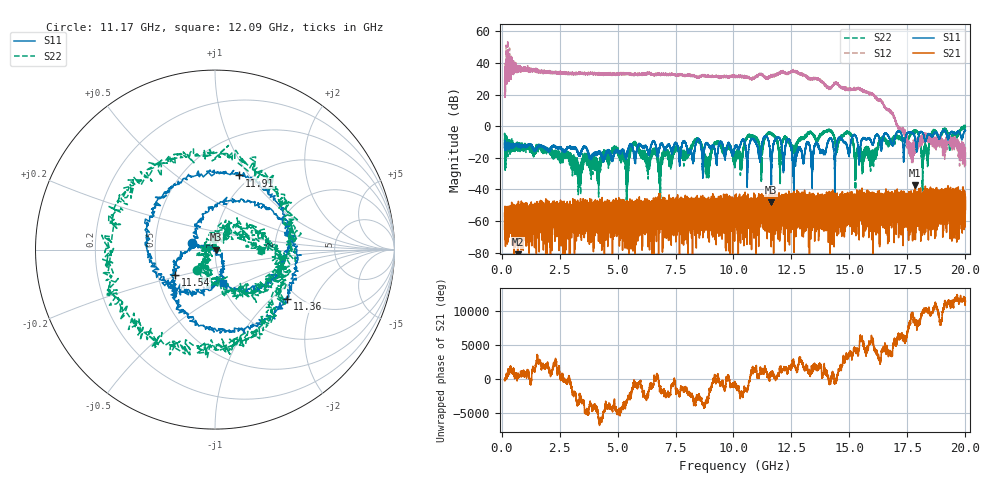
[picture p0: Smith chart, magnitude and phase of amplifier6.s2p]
!Created with skrf (http://scikit-rf.org).
# GHz S RI R 50.0
!freq ReS11 ImS11 ReS21 ImS21 ReS12 ImS12 ReS22 ImS22
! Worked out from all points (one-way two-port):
!   20013 points, 130 MHz to 20 GHz, reference 50 ohm
!   highest |S21| = -37.30 dB at 17.84 GHz (marker M1); lowest = -93.4 dB at 693 MHz (marker M2)
!   lowest |S11| = -48.1 dB at 11.63 GHz (marker M3), VSWR 1.01, Z = 50.4 - j0.088 ohm
!   |S11| at or under -10 dB: 143.4 MHz to 6.505 GHz (6.361 GHz wide, 191 % of centre); 6.601 GHz to 7.809 GHz (1.208 GHz wide, 16.8 % of centre); 13.21 GHz to 14.07 GHz (864.6 MHz wide, 6.34 % of centre) (the widest 3 of 140)
!   |S22| runs from -53.5 to 0.6 dB; largest |S21 - S12| = 5.1e+02
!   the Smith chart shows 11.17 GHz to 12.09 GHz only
!   S11 on the Smith chart (normalised r, x): 11.17 GHz: 0.77, +0.06; 11.36 GHz: 1.76, -1.27; 11.54 GHz: 0.61, -0.19; 11.91 GHz: 0.88, +0.90; 12.09 GHz: 1.02, -0.39
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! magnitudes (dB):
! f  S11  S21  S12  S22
! 130 MHz  -13.3  -55.0  21.6  -10.8
! 693 MHz  -12.1  -93.4  34.8  -12.5
! 3.442 GHz  -15.6  -72.1  33.0  -25.4
! 5.409 GHz  -17.6  -48.0  33.4  -30.2
! 5.727 GHz  -20.6  -67.1  33.2  -10.3
! 6.754 GHz  -17.4  -62.9  33.1  -21.8
! 8.423 GHz  -9.0  -45.3  30.7  -9.1
! 8.869 GHz  -10.8  -57.5  31.4  -21.0
! 9.277 GHz  -23.4  -47.4  31.1  -10.2
! 10.06 GHz  -13.1  -50.5  31.6  -21.8
! 10.69 GHz  -11.4  -53.4  30.6  -5.6
! 11.17 GHz  -17.6  -51.2  33.1  -16.3
! 11.36 GHz  -6.2  -46.9  31.4  -7.5
! 11.54 GHz  -11.6  -49.2  31.0  -4.5
! 11.63 GHz  -48.1  -52.9  32.2  -4.5
! 11.91 GHz  -7.2  -50.5  33.1  -11.3
! 12.09 GHz  -14.3  -58.4  33.8  -11.8
! 13.38 GHz  -27.7  -53.4  29.9  -4.2
! 16.69 GHz  -6.5  -49.3  10.1  -11.6
! 17.84 GHz  -8.2  -37.3  -13.0  -4.8
! 18.19 GHz  -5.2  -46.0  -8.2  -17.5
! 20 GHz  -2.6  -52.6  -16.3  -1.0
